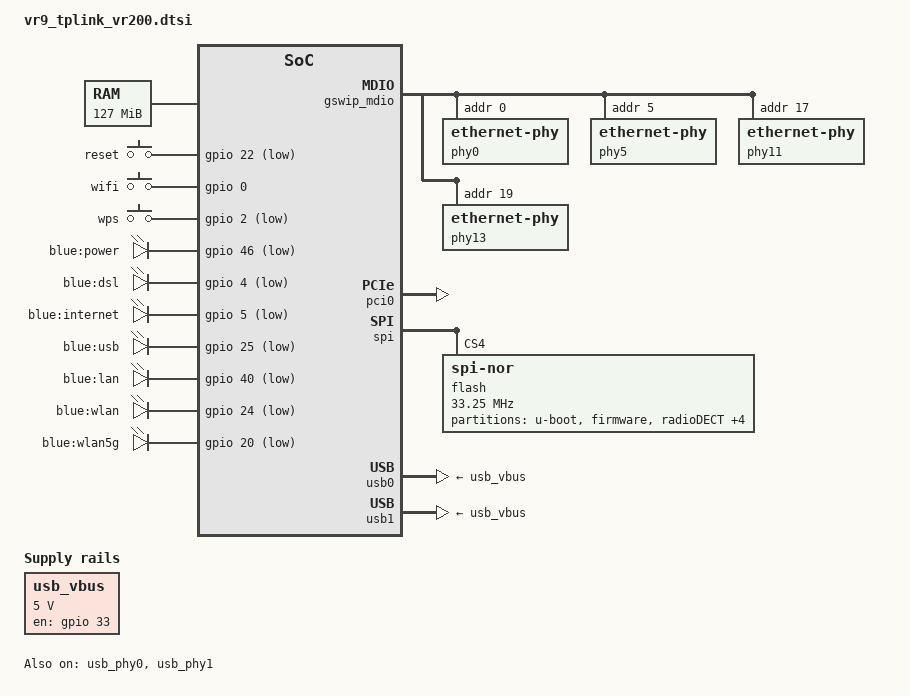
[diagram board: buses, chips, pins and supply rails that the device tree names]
#include "vr9.dtsi"

#include <dt-bindings/input/input.h>
#include <dt-bindings/mips/lantiq_rcu_gphy.h>

/ {
	aliases {
		led-boot = &led_power;
		led-failsafe = &led_power;
		led-running = &led_power;
		led-upgrade = &led_power;

		led-dsl = &led_dsl;
		led-internet = &led_internet;
		led-wifi = &led_wlan5g;
	};

	memory@0 {
		device_type = "memory";
		reg = <0x0 0x7f00000>;
	};

	keys: keys {
		compatible = "gpio-keys-polled";
		poll-interval = <100>;

		reset {
			label = "reset";
			gpios = <&gpio 22 GPIO_ACTIVE_LOW>;
			linux,code = <KEY_RESTART>;
		};

		wifi {
			label = "wifi";
			gpios = <&gpio 0 GPIO_ACTIVE_HIGH>;
			linux,code = <KEY_RFKILL>;
			linux,input-type = <EV_SW>;
		};

		wps {
			label = "wps";
			gpios = <&gpio 2 GPIO_ACTIVE_LOW>;
			linux,code = <KEY_WPS_BUTTON>;
		};
	};

	leds: leds {
		compatible = "gpio-leds";

		led_power: power {
			label = "blue:power";
			gpios = <&gpio 46 GPIO_ACTIVE_LOW>;
			default-state = "keep";
		};

		led_dsl: dsl {
			label = "blue:dsl";
			gpios = <&gpio 4 GPIO_ACTIVE_LOW>;
		};

		led_internet: internet {
			label = "blue:internet";
			gpios = <&gpio 5 GPIO_ACTIVE_LOW>;
		};

		usb {
			label = "blue:usb";
			gpios = <&gpio 25 GPIO_ACTIVE_LOW>;
			trigger-sources = <&ehci_port1>, <&ehci_port2>;
			linux,default-trigger = "usbport";
		};

		eth {
			label = "blue:lan";
			gpios = <&gpio 40 GPIO_ACTIVE_LOW>;
		};

		wlan {
			label = "blue:wlan";
			gpios = <&gpio 24 GPIO_ACTIVE_LOW>;
		};

		led_wlan5g: wifi {
			label = "blue:wlan5g";
			gpios = <&gpio 20 GPIO_ACTIVE_LOW>;
		};
	};

	usb_vbus: regulator-usb-vbus {
		compatible = "regulator-fixed";

		regulator-name = "USB_VBUS";

		regulator-min-microvolt = <5000000>;
		regulator-max-microvolt = <5000000>;

		gpio = <&gpio 33 GPIO_ACTIVE_HIGH>;
		enable-active-high;
	};
};

&eth0 {
	nvmem-cells = <&macaddr_romfile_f100>;
	nvmem-cell-names = "mac-address";
};

&gphy0 {
	lantiq,gphy-mode = <GPHY_MODE_GE>;
};

&gphy1 {
	lantiq,gphy-mode = <GPHY_MODE_GE>;
};

&gpio {
	pinctrl-names = "default";
	pinctrl-0 = <&state_default>;

	state_default: pinmux {
		phy-rst {
			lantiq,pins = "io42";
			lantiq,pull = <0>;
			lantiq,open-drain = <0>;
			lantiq,output = <1>;
		};
		pcie-rst {
			lantiq,pins = "io38";
			lantiq,pull = <0>;
			lantiq,output = <1>;
		};
	};
};

&gswip {
	pinctrl-0 = <&mdio_pins>, <&gphy0_led1_pins>, <&gphy1_led1_pins>;
	pinctrl-names = "default";
};

&gswip_mdio {
	phy0: ethernet-phy@0 {
		reg = <0x0>;
		// reset-gpios = <&gpio 42 GPIO_ACTIVE_LOW>;
	};
	phy5: ethernet-phy@5 {
		reg = <0x5>;
	};
	phy11: ethernet-phy@11 {
		reg = <0x11>;
	};
	phy13: ethernet-phy@13 {
		reg = <0x13>;
	};
};

&gswip_ports {
	port@0 {
		reg = <0>;
		label = "lan3";
		phy-mode = "rgmii";
		phy-handle = <&phy0>;
	};
	port@2 {
		reg = <2>;
		label = "lan2";
		phy-mode = "internal";
		phy-handle = <&phy11>;
	};
	port@4 {
		reg = <4>;
		label = "lan1";
		phy-mode = "internal";
		phy-handle = <&phy13>;
	};
	port@5 {
		reg = <5>;
		label = "lan4";
		phy-mode = "rgmii";
		phy-handle = <&phy5>;
	};
};

&pcie0 {
	pcie@0 {
		reg = <0 0 0 0 0>;
		#interrupt-cells = <1>;
		#size-cells = <2>;
		#address-cells = <3>;
		device_type = "pci";

		wifi@0,0 {
			reg = <0 0 0 0 0>;
			mediatek,mtd-eeprom = <&radio 0x0000>;
			big-endian;
			ieee80211-freq-limit = <5000000 6000000>;
			nvmem-cells = <&macaddr_romfile_f100>;
			nvmem-cell-names = "mac-address";
			mac-address-increment = <2>;
		};
	};
};

&pci0 {
	status = "okay";
	gpio-reset = <&gpio 21 GPIO_ACTIVE_HIGH>;
};

&spi {
	status = "okay";

	flash@4 {
		compatible = "jedec,spi-nor";
		reg = <4>;
		spi-max-frequency = <33250000>;
		m25p,fast-read;

		partitions {
			compatible = "fixed-partitions";
			#address-cells = <1>;
			#size-cells = <1>;

			partition@0 {
				reg = <0x0 0x20000>;
				label = "u-boot";
				read-only;
			};

			partition@20000 {
				reg = <0x20000 0xf90000>;
				label = "firmware";
			};

			partition@fb0000 {
				reg = <0xfb0000 0x10000>;
				label = "radioDECT";
				read-only;
			};

			partition@fc0000 {
				reg = <0xfc0000 0x10000>;
				label = "config";
				read-only;
			};

			romfile: partition@fd0000 {
				reg = <0xfd0000 0x10000>;
				label = "romfile";
				read-only;
			};

			partition@fe0000 {
				reg = <0xfe0000 0x10000>;
				label = "rom";
				read-only;
			};

			radio: partition@ff0000 {
				reg = <0xff0000 0x10000>;
				label = "radio";
				read-only;
			};
		};
	};
};

&usb_phy0 {
	status = "okay";
};

&usb_phy1 {
	status = "okay";
};

&usb0 {
	status = "okay";
	vbus-supply = <&usb_vbus>;
};

&usb1 {
	status = "okay";
	vbus-supply = <&usb_vbus>;
};

&romfile {
	compatible = "nvmem-cells";
	#address-cells = <1>;
	#size-cells = <1>;

	macaddr_romfile_f100: macaddr@f100 {
		reg = <0xf100 0x6>;
	};
};
